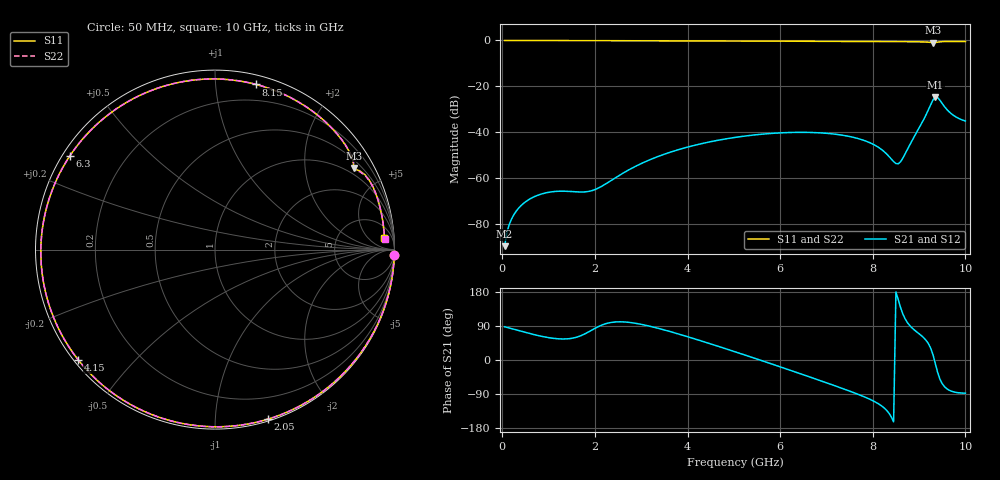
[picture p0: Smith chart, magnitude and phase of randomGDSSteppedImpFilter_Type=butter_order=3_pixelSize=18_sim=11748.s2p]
! freq	dB(S11)	phase(S11)	dB(S12)	phase(S12)
!  dB(S21)	phase(S21)	dB(S22)	phase(S22)
!S-par simulation data
#  GHz  S  DB  R 50
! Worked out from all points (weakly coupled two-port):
!   200 points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, 50 MHz to 10 GHz, reference 50 ohm
!   highest |S21| = -24.75 dB at 9.35 GHz (marker M1); lowest = -89.9 dB at 50 MHz (marker M2)
!   lowest |S11| = -0.9 dB at 9.3 GHz (marker M3), VSWR 18.48, Z = 37.8 + j176 ohm
!   |S11| at or under -10 dB: nowhere
!   |S22| runs from -0.9 to 0.0 dB; largest |S21 - S12| = 0
!   S11 on the Smith chart (normalised r, x): 50 MHz: 1, -62; 2.05 GHz: 0.01, -1.36; 4.15 GHz: 0.01, -0.35; 6.3 GHz: 0.02, +0.29; 8.15 GHz: 0.07, +1.28; 10 GHz: 14, +18
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0.05  -0.00 -1.9  -89.89 87.7  -89.89 87.7  -0.00 -1.9
0.15  -0.01 -5.5  -80.46 84.4  -80.46 84.4  -0.01 -5.5
0.4  -0.02 -14.6  -72.27 76.0  -72.27 76.0  -0.02 -14.6
0.75  -0.03 -27.2  -67.76 65.1  -67.76 65.1  -0.03 -27.2
1.75  -0.08 -62.4  -66.21 67.0  -66.21 67.0  -0.08 -62.4
2.05  -0.09 -72.6  -64.73 86.7  -64.73 86.7  -0.09 -72.7
2.7  -0.12 -94.3  -56.91 99.8  -56.91 99.8  -0.12 -94.3
3.4  -0.15 -117.0  -50.42 82.5  -50.42 82.5  -0.15 -117.1
4.15  -0.19 -141.0  -45.82 55.9  -45.82 55.9  -0.19 -141.1
5.05  -0.24 -170.0  -42.30 20.7  -42.30 20.7  -0.24 -170.2
5.7  -0.29 168.3  -40.80 -5.6  -40.80 -5.6  -0.29 168.1
6.3  -0.33 147.3  -40.17 -30.5  -40.17 -30.5  -0.33 147.1
6.7  -0.36 132.7  -40.23 -47.3  -40.23 -47.3  -0.36 132.4
7.45  -0.42 104.0  -41.78 -79.8  -41.78 -79.8  -0.41 103.7
8.15  -0.46 76.0  -47.07 -117.7  -47.07 -117.7  -0.46 75.5
8.35  -0.48 67.8  -50.67 -140.5  -50.67 -140.5  -0.48 67.4
8.5  -0.49 61.7  -53.77 179.6  -53.77 179.6  -0.49 61.2
8.6  -0.50 57.6  -53.01 138.7  -53.01 138.7  -0.50 57.1
9.3  -0.94 30.4  -25.98 14.0  -25.98 14.0  -0.94 30.0
9.35  -0.92 29.8  -24.75 -8.9  -24.75 -8.9  -0.92 29.4
9.7  -0.45 15.6  -32.07 -82.4  -32.07 -82.4  -0.45 15.1
10  -0.48 3.9  -35.21 -87.5  -35.21 -87.5  -0.48 3.5
